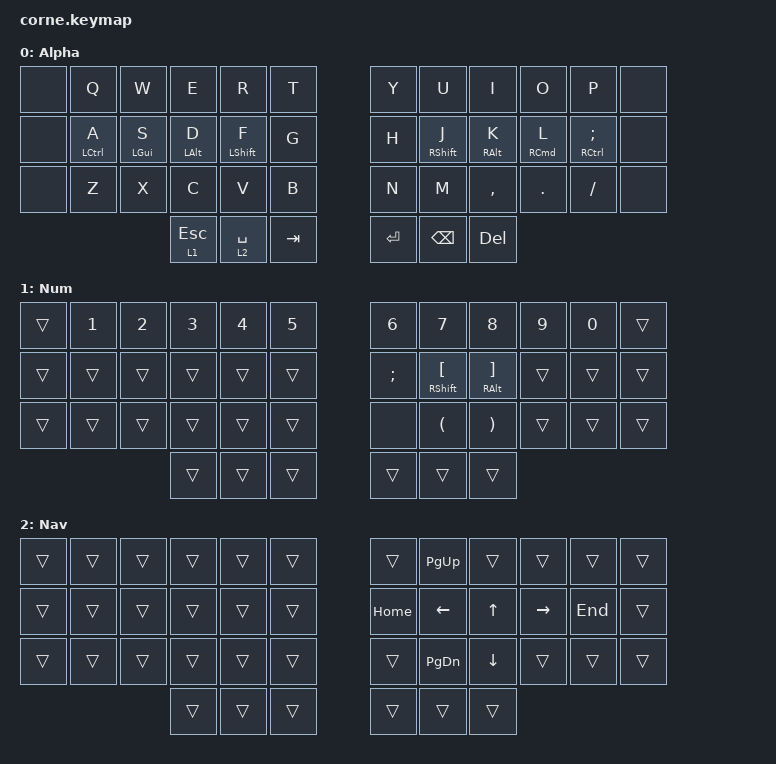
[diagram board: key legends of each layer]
/*
 * Copyright (c) 2020 The ZMK Contributors
 *
 * SPDX-License-Identifier: MIT
 */

#include <behaviors.dtsi>
#include <dt-bindings/zmk/keys.h>

/ {
    keymap {
        compatible = "zmk,keymap";

        default_layer {
            // -----------------------------------------------------------------------------------------
            // |  TAB |  Q  |  W  |  E  |  R  |  T  |   |  Y  |  U   |  I  |  O  |  P  | BKSP |
            // | CTRL |  A  |  S  |  D  |  F  |  G  |   |  H  |  J   |  K  |  L  |  ;  |  '   |
            // | SHFT |  Z  |  X  |  C  |  V  |  B  |   |  N  |  M   |  ,  |  .  |  /  | ESC  |
            //                    | GUI | LWR | SPC |   | ENT | RSE  | ALT |

            bindings = <
&none  &kp Q               &kp W           &kp E           &kp R             &kp T      &kp Y    &kp U              &kp I            &kp O                &kp P                        &none
&none  &mt LEFT_CONTROL A  &mt LEFT_GUI S  &mt LEFT_ALT D  &mt LEFT_SHIFT F  &kp G      &kp H    &mt RIGHT_SHIFT J  &mt RIGHT_ALT K  &mt RIGHT_COMMAND L  &mt RIGHT_CONTROL SEMICOLON  &none
&none  &kp Z               &kp X           &kp C           &kp V             &kp B      &kp N    &kp M              &kp COMMA        &kp DOT              &kp FSLH                     &none
                                           &lt 1 ESC       &lt 2 SPACE       &kp TAB    &kp RET  &kp BACKSPACE      &kp DELETE
            >;

            label = "Alpha";
        };

        Num {
            bindings = <
&trans  &kp N1  &kp N2  &kp N3  &kp N4  &kp N5    &kp N6    &kp N7                &kp N8                 &kp N9  &kp N0  &trans
&trans  &trans  &trans  &trans  &trans  &trans    &kp SEMI  &mt RIGHT_SHIFT LBKT  &mt RIGHT_ALT RBKT     &trans  &trans  &trans
&trans  &trans  &trans  &trans  &trans  &trans    &none     &kp LEFT_PARENTHESIS  &kp RIGHT_PARENTHESIS  &trans  &trans  &trans
                        &trans  &trans  &trans    &trans    &trans                &trans
            >;
        };

        Nav {
            bindings = <
&trans  &trans  &trans  &trans  &trans  &trans    &trans    &kp PAGE_UP     &trans        &trans           &trans   &trans
&trans  &trans  &trans  &trans  &trans  &trans    &kp HOME  &kp LEFT_ARROW  &kp UP_ARROW  &kp RIGHT_ARROW  &kp END  &trans
&trans  &trans  &trans  &trans  &trans  &trans    &trans    &kp PAGE_DOWN   &kp DOWN      &trans           &trans   &trans
                        &trans  &trans  &trans    &trans    &trans          &trans
            >;
        };
    };
};
